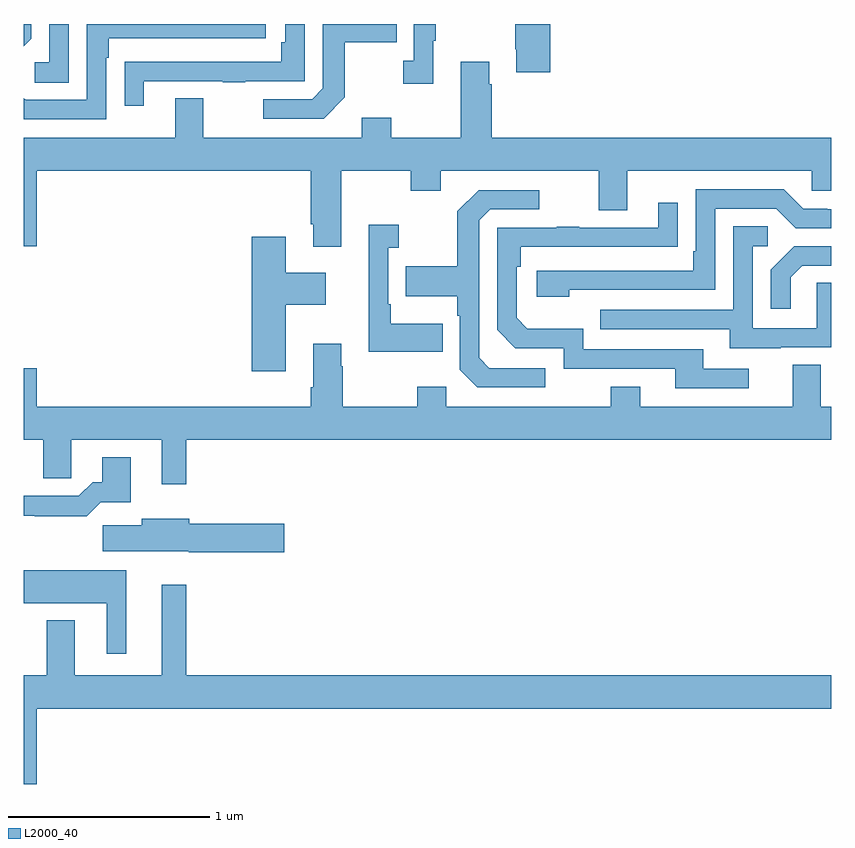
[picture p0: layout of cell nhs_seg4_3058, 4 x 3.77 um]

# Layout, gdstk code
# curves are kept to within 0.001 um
import gdstk
lib = gdstk.Library(unit=1e-6, precision=1e-09)
def P(c, l, *ps):  # polygons
    for p in ps: c.add(gdstk.Polygon(p, *l))
L2000_40 = (2000, 40)

nhs_seg4_3058 = lib.new_cell('nhs_seg4_3058')
P(nhs_seg4_3058, L2000_40, [(275.609,778.9),(275.434,778.9),(275.434,778.774),(275.441,778.774),(275.441,778.662),(275.609,778.662)],
  [(275.029,778.817),(275.041,778.817),(275.041,778.9),(274.932,778.9),(274.932,778.718),(274.881,778.718),(274.881,778.605),(275.029,778.605)],
  [(274.591,778.537),(274.591,778.81),(274.847,778.81),(274.847,778.9),(274.482,778.9),(274.482,778.581),(274.428,778.527),(274.185,778.527),(274.185,778.431),(274.485,778.431)],
  [(273.036,778.826),(273.036,778.9),(273,778.9),(273,778.79)],
  [(273.595,778.617),(273.985,778.617),(273.985,778.612),(274.097,778.612),(274.097,778.617),(274.392,778.617),(274.392,778.9),(274.296,778.9),(274.296,778.81),(274.276,778.81),(274.276,778.713),(273.601,778.713),(273.601,778.712),(273.499,778.712),(273.499,778.494),(273.595,778.494)],
  [(273.222,778.9),(273.126,778.9),(273.126,778.71),(273.054,778.71),(273.054,778.609),(273.222,778.609)],
  [(273.408,778.733),(273.421,778.733),(273.421,778.83),(274.198,778.83),(274.198,778.9),(273.312,778.9),(273.312,778.524),(273.009,778.524),(273,778.533),(273,778.428),(273.408,778.428)],
  [(274.573,778.172),(274.918,778.172),(274.918,778.073),(275.065,778.073),(275.065,778.172),(275.849,778.172),(275.849,777.978),(275.989,777.978),(275.989,778.172),(276.903,778.172),(276.903,778.074),(277,778.074),(277,778.336),(275.318,778.336),(275.318,778.601),(275.305,778.601),(275.305,778.714),(275.165,778.714),(275.165,778.336),(274.821,778.336),(274.821,778.435),(274.673,778.435),(274.673,778.336),(273.889,778.336),(273.889,778.531),(273.749,778.531),(273.749,778.336),(273,778.336),(273,777.798),(273.064,777.798),(273.064,778.172),(274.421,778.172),(274.421,777.907),(274.433,777.907),(274.433,777.795),(274.573,777.795)],
  [(275.702,777.582),(276.426,777.582),(276.426,777.984),(276.729,777.984),(276.825,777.888),(277,777.888),(277,777.981),(276.98,777.981),(276.98,777.984),(276.861,777.984),(276.765,778.08),(276.33,778.08),(276.33,777.775),(276.317,777.775),(276.317,777.678),(275.541,777.678),(275.541,777.548),(275.702,777.548)],
  [(275.584,777.195),(275.307,777.195),(275.256,777.246),(275.256,777.927),(275.31,777.981),(275.554,777.981),(275.554,778.077),(275.253,778.077),(275.148,777.971),(275.148,777.699),(274.891,777.699),(274.891,777.551),(275.148,777.551),(275.148,777.455),(275.16,777.455),(275.16,777.186),(275.247,777.099),(275.584,777.099)],
  [(276.592,777.192),(276.367,777.192),(276.367,777.288),(275.772,777.288),(275.772,777.391),(275.495,777.391),(275.442,777.444),(275.442,777.698),(275.462,777.698),(275.462,777.795),(276.239,777.796),(276.239,778.015),(276.143,778.015),(276.143,777.891),(275.753,777.891),(275.753,777.896),(275.641,777.896),(275.641,777.891),(275.346,777.891),(275.346,777.384),(275.436,777.294),(275.676,777.294),(275.676,777.192),(276.227,777.192),(276.227,777.096),(276.592,777.096)],
  [(275.075,777.415),(274.819,777.415),(274.819,777.511),(274.806,777.511),(274.806,777.791),(274.858,777.791),(274.858,777.904),(274.709,777.904),(274.709,777.275),(275.075,777.275)],
  [(276.751,777.297),(277,777.297),(277,777.617),(276.93,777.617),(276.93,777.393),(276.612,777.393),(276.612,777.798),(276.685,777.798),(276.685,777.899),(276.516,777.899),(276.516,777.483),(275.857,777.483),(275.857,777.387),(276.497,777.387),(276.497,777.293),(276.751,777.293)],
  [(274.297,777.509),(274.495,777.509),(274.495,777.667),(274.297,777.667),(274.297,777.847),(274.13,777.847),(274.13,777.18),(274.297,777.18)],
  [(276.799,777.645),(276.856,777.702),(277,777.702),(277,777.798),(276.818,777.798),(276.702,777.682),(276.702,777.489),(276.799,777.489)],
  [(273.805,776.84),(277,776.84),(277,777.004),(276.949,777.004),(276.949,777.212),(276.809,777.212),(276.809,777.004),(276.055,777.004),(276.055,777.103),(275.908,777.103),(275.908,777.004),(275.094,777.004),(275.094,777.103),(274.948,777.103),(274.948,777.004),(274.581,777.004),(274.581,777.203),(274.573,777.203),(274.573,777.316),(274.433,777.316),(274.433,777.1),(274.421,777.1),(274.421,777.004),(273.064,777.004),(273.064,777.193),(273,777.193),(273,776.84),(273.095,776.84),(273.095,776.65),(273.234,776.65),(273.234,776.84),(273.683,776.84),(273.683,776.619),(273.805,776.619)],
  [(273.38,776.531),(273.529,776.531),(273.529,776.752),(273.389,776.752),(273.389,776.629),(273.34,776.629),(273.273,776.562),(273,776.562),(273,776.464),(273.055,776.464),(273.055,776.462),(273.311,776.462)],
  [(274.291,776.424),(273.82,776.424),(273.82,776.449),(273.584,776.449),(273.584,776.417),(273.39,776.417),(273.39,776.288),(273.816,776.288),(273.816,776.282),(274.291,776.282)],
  [(273.508,776.194),(273,776.194),(273,776.03),(273.41,776.03),(273.41,775.779),(273.508,775.779)],
  [(273.064,775.508),(277,775.508),(277,775.672),(273.805,775.672),(273.805,776.122),(273.683,776.122),(273.683,775.672),(273.253,775.672),(273.253,775.945),(273.113,775.945),(273.113,775.672),(273,775.672),(273,775.134),(273.064,775.134)])

lib.write_gds('nhs_seg4_3058.gds')
